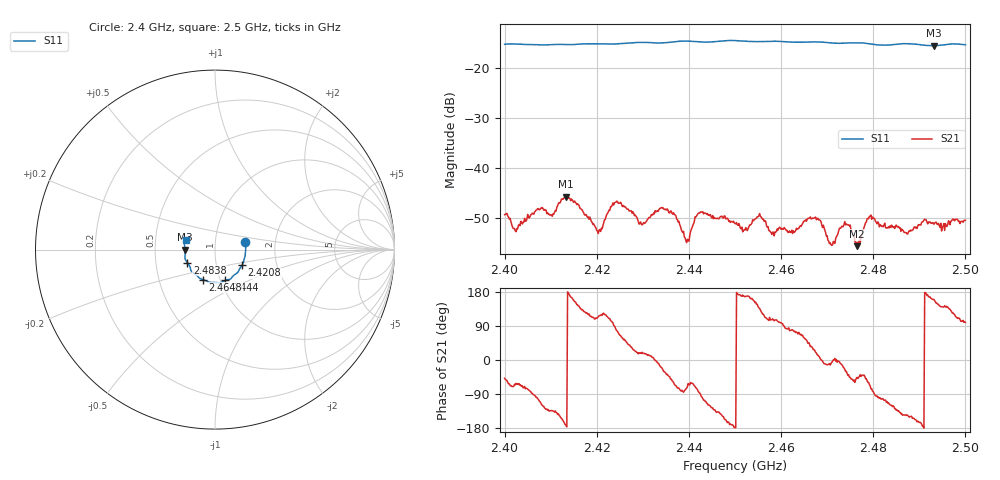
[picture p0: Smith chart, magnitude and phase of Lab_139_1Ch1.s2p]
# Hz S RI R 50
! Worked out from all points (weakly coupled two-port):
!   601 points, 2.4 GHz to 2.5 GHz, reference 50 ohm
!   highest |S21| = -45.75 dB at 2.4133 GHz (marker M1); lowest = -55.6 dB at 2.4765 GHz (marker M2)
!   lowest |S11| = -15.6 dB at 2.4932 GHz (marker M3), VSWR 1.40, Z = 35.8 - j0.0685 ohm
!   |S11| at or under -10 dB: start of sweep to end of sweep
!   S12 and S22 are empty: the file has one direction only
!   S11 on the Smith chart (normalised r, x): 2.4 GHz: 1.39, +0.12; 2.4208 GHz: 1.33, -0.24; 2.444 GHz: 1.06, -0.37; 2.4648 GHz: 0.83, -0.29; 2.4838 GHz: 0.73, -0.11; 2.5 GHz: 0.72, +0.08
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2.4e9  0.1669 0.0415  0.00227 -0.00254  0 0  0 0
2.402333e9  0.1708 0.028  0.000972 -0.00213  0 0  0 0
2.413333e9  0.164 -0.0471  -0.00512 -0.000616  0 0  0 0
2.416667e9  0.1593 -0.0681  -0.00261 0.00284  0 0  0 0
2.420833e9  0.1503 -0.0869  -0.00108 0.00205  0 0  0 0
2.424e9  0.1396 -0.1026  0.000333 0.00451  0 0  0 0
2.429667e9  0.1253 -0.1288  0.00263 0.000811  0 0  0 0
2.433333e9  0.1075 -0.1407  0.00364 -0.000593  0 0  0 0
2.436667e9  0.0926 -0.1566  0.00182 -0.00306  0 0  0 0
2.4395e9  0.0836 -0.1652  0.000482 -0.00173  0 0  0 0
2.444e9  0.0579 -0.1713  -0.00148 -0.00317  0 0  0 0
2.45e9  0.0246 -0.1856  -0.00278 -0.000119  0 0  0 0
2.464833e9  -0.0686 -0.167  0.00142 0.00252  0 0  0 0
2.466667e9  -0.0798 -0.163  0.00254 0.00177  0 0  0 0
2.470667e9  -0.095 -0.1502  0.00174 -0.00041  0 0  0 0
2.474167e9  -0.1167 -0.1329  0.00238 -0.00138  0 0  0 0
2.4765e9  -0.1296 -0.1222  0.00115 -0.00118  0 0  0 0
2.479167e9  -0.1359 -0.1088  0.0014 -0.00296  0 0  0 0
2.483333e9  -0.1508 -0.0763  -0.00103 -0.00238  0 0  0 0
2.483833e9  -0.1536 -0.0722  -0.00123 -0.00223  0 0  0 0
2.493167e9  -0.1661 -0.000931  -0.00257 0.000942  0 0  0 0
2.5e9  -0.1618 0.0528  -0.000495 0.00296  0 0  0 0
